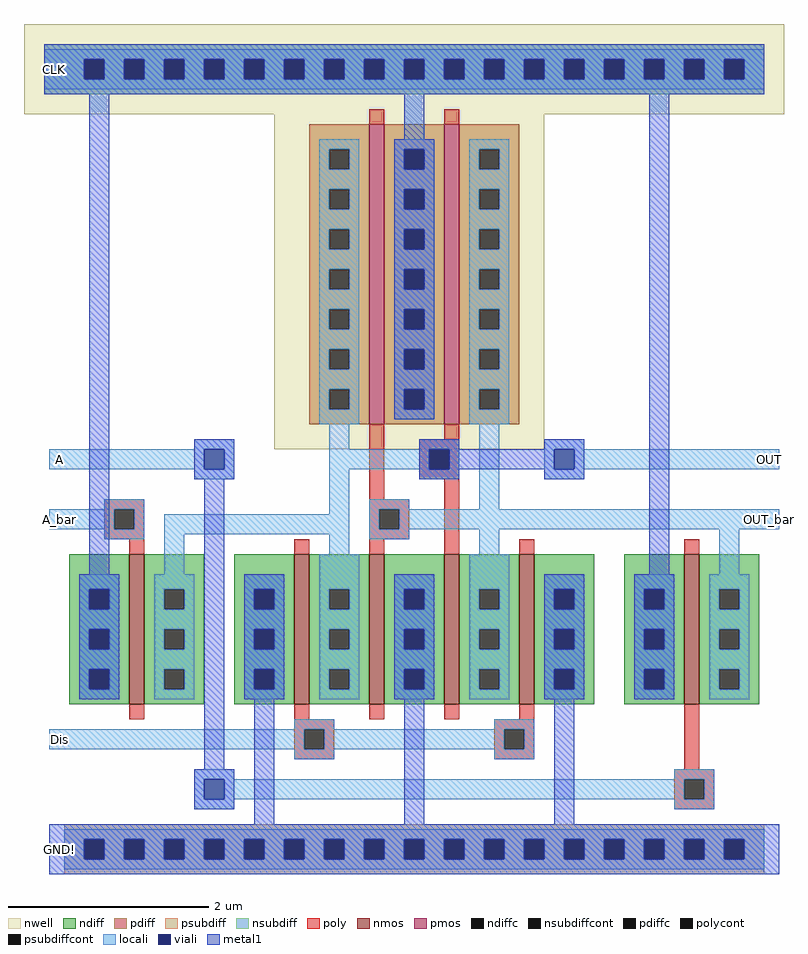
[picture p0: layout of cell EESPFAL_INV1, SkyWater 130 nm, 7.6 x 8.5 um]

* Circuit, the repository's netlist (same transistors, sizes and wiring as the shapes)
* NGSPICE file created from EESPFAL_INV1.ext - technology: sky130A

.subckt EESPFAL_INV1 A A_bar OUT OUT_bar Dis GND CLK
X0 OUT A_bar CLK GND sky130_fd_pr__nfet_01v8 ad=1.8e+12p pd=8.4e+06u as=5.4e+12p ps=2.38e+07u w=1.5e+06u l=150000u
X1 OUT_bar A CLK GND sky130_fd_pr__nfet_01v8 ad=1.8e+12p pd=8.4e+06u as=0p ps=0u w=1.5e+06u l=150000u
X2 CLK OUT_bar OUT CLK sky130_fd_pr__pfet_01v8 ad=1.8e+12p pd=7.2e+06u as=1.8e+12p ps=7.2e+06u w=3e+06u l=150000u
X3 GND Dis OUT_bar GND sky130_fd_pr__nfet_01v8 ad=2.7e+12p pd=1.26e+07u as=0p ps=0u w=1.5e+06u l=150000u
X4 OUT_bar OUT GND GND sky130_fd_pr__nfet_01v8 ad=0p pd=0u as=0p ps=0u w=1.5e+06u l=150000u
X5 OUT Dis GND GND sky130_fd_pr__nfet_01v8 ad=0p pd=0u as=0p ps=0u w=1.5e+06u l=150000u
X6 GND OUT_bar OUT GND sky130_fd_pr__nfet_01v8 ad=0p pd=0u as=0p ps=0u w=1.5e+06u l=150000u
X7 OUT_bar OUT CLK CLK sky130_fd_pr__pfet_01v8 ad=1.8e+12p pd=7.2e+06u as=0p ps=0u w=3e+06u l=150000u
.ends

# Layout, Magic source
magic
tech sky130A
<< nwell >>
rect -545 520 215 610
rect -295 185 -25 520
<< nmos >>
rect -440 -70 -425 80
rect -275 -70 -260 80
rect -200 -70 -185 80
rect -125 -70 -110 80
rect -50 -70 -35 80
rect 115 -70 130 80
<< pmos >>
rect -200 210 -185 510
rect -125 210 -110 510
<< ndiff >>
rect -500 45 -440 80
rect -500 25 -480 45
rect -460 25 -440 45
rect -500 5 -440 25
rect -500 -15 -480 5
rect -460 -15 -440 5
rect -500 -35 -440 -15
rect -500 -55 -480 -35
rect -460 -55 -440 -35
rect -500 -70 -440 -55
rect -425 45 -365 80
rect -425 25 -405 45
rect -385 25 -365 45
rect -425 5 -365 25
rect -425 -15 -405 5
rect -385 -15 -365 5
rect -425 -35 -365 -15
rect -425 -55 -405 -35
rect -385 -55 -365 -35
rect -425 -70 -365 -55
rect -335 45 -275 80
rect -335 25 -315 45
rect -295 25 -275 45
rect -335 5 -275 25
rect -335 -15 -315 5
rect -295 -15 -275 5
rect -335 -35 -275 -15
rect -335 -55 -315 -35
rect -295 -55 -275 -35
rect -335 -70 -275 -55
rect -260 45 -200 80
rect -260 25 -240 45
rect -220 25 -200 45
rect -260 5 -200 25
rect -260 -15 -240 5
rect -220 -15 -200 5
rect -260 -35 -200 -15
rect -260 -55 -240 -35
rect -220 -55 -200 -35
rect -260 -70 -200 -55
rect -185 45 -125 80
rect -185 25 -165 45
rect -145 25 -125 45
rect -185 5 -125 25
rect -185 -15 -165 5
rect -145 -15 -125 5
rect -185 -35 -125 -15
rect -185 -55 -165 -35
rect -145 -55 -125 -35
rect -185 -70 -125 -55
rect -110 45 -50 80
rect -110 25 -90 45
rect -70 25 -50 45
rect -110 5 -50 25
rect -110 -15 -90 5
rect -70 -15 -50 5
rect -110 -35 -50 -15
rect -110 -55 -90 -35
rect -70 -55 -50 -35
rect -110 -70 -50 -55
rect -35 45 25 80
rect -35 25 -15 45
rect 5 25 25 45
rect -35 5 25 25
rect -35 -15 -15 5
rect 5 -15 25 5
rect -35 -35 25 -15
rect -35 -55 -15 -35
rect 5 -55 25 -35
rect -35 -70 25 -55
rect 55 45 115 80
rect 55 25 75 45
rect 95 25 115 45
rect 55 5 115 25
rect 55 -15 75 5
rect 95 -15 115 5
rect 55 -35 115 -15
rect 55 -55 75 -35
rect 95 -55 115 -35
rect 55 -70 115 -55
rect 130 45 190 80
rect 130 25 150 45
rect 170 25 190 45
rect 130 5 190 25
rect 130 -15 150 5
rect 170 -15 190 5
rect 130 -35 190 -15
rect 130 -55 150 -35
rect 170 -55 190 -35
rect 130 -70 190 -55
<< pdiff >>
rect -260 485 -200 510
rect -260 465 -240 485
rect -220 465 -200 485
rect -260 445 -200 465
rect -260 425 -240 445
rect -220 425 -200 445
rect -260 405 -200 425
rect -260 385 -240 405
rect -220 385 -200 405
rect -260 365 -200 385
rect -260 345 -240 365
rect -220 345 -200 365
rect -260 325 -200 345
rect -260 305 -240 325
rect -220 305 -200 325
rect -260 285 -200 305
rect -260 265 -240 285
rect -220 265 -200 285
rect -260 245 -200 265
rect -260 225 -240 245
rect -220 225 -200 245
rect -260 210 -200 225
rect -185 485 -125 510
rect -185 465 -165 485
rect -145 465 -125 485
rect -185 445 -125 465
rect -185 425 -165 445
rect -145 425 -125 445
rect -185 405 -125 425
rect -185 385 -165 405
rect -145 385 -125 405
rect -185 365 -125 385
rect -185 345 -165 365
rect -145 345 -125 365
rect -185 325 -125 345
rect -185 305 -165 325
rect -145 305 -125 325
rect -185 285 -125 305
rect -185 265 -165 285
rect -145 265 -125 285
rect -185 245 -125 265
rect -185 225 -165 245
rect -145 225 -125 245
rect -185 210 -125 225
rect -110 485 -50 510
rect -110 465 -90 485
rect -70 465 -50 485
rect -110 445 -50 465
rect -110 425 -90 445
rect -70 425 -50 445
rect -110 405 -50 425
rect -110 385 -90 405
rect -70 385 -50 405
rect -110 365 -50 385
rect -110 345 -90 365
rect -70 345 -50 365
rect -110 325 -50 345
rect -110 305 -90 325
rect -70 305 -50 325
rect -110 285 -50 305
rect -110 265 -90 285
rect -70 265 -50 285
rect -110 245 -50 265
rect -110 225 -90 245
rect -70 225 -50 245
rect -110 210 -50 225
<< ndiffc >>
rect -480 25 -460 45
rect -480 -15 -460 5
rect -480 -55 -460 -35
rect -405 25 -385 45
rect -405 -15 -385 5
rect -405 -55 -385 -35
rect -315 25 -295 45
rect -315 -15 -295 5
rect -315 -55 -295 -35
rect -240 25 -220 45
rect -240 -15 -220 5
rect -240 -55 -220 -35
rect -165 25 -145 45
rect -165 -15 -145 5
rect -165 -55 -145 -35
rect -90 25 -70 45
rect -90 -15 -70 5
rect -90 -55 -70 -35
rect -15 25 5 45
rect -15 -15 5 5
rect -15 -55 5 -35
rect 75 25 95 45
rect 75 -15 95 5
rect 75 -55 95 -35
rect 150 25 170 45
rect 150 -15 170 5
rect 150 -55 170 -35
<< pdiffc >>
rect -240 465 -220 485
rect -240 425 -220 445
rect -240 385 -220 405
rect -240 345 -220 365
rect -240 305 -220 325
rect -240 265 -220 285
rect -240 225 -220 245
rect -165 465 -145 485
rect -165 425 -145 445
rect -165 385 -145 405
rect -165 345 -145 365
rect -165 305 -145 325
rect -165 265 -145 285
rect -165 225 -145 245
rect -90 465 -70 485
rect -90 425 -70 445
rect -90 385 -70 405
rect -90 345 -70 365
rect -90 305 -70 325
rect -90 265 -70 285
rect -90 225 -70 245
<< psubdiff >>
rect -505 -205 195 -190
rect -505 -225 -485 -205
rect -465 -225 -445 -205
rect -425 -225 -405 -205
rect -385 -225 -365 -205
rect -345 -225 -325 -205
rect -305 -225 -285 -205
rect -265 -225 -245 -205
rect -225 -225 -205 -205
rect -185 -225 -165 -205
rect -145 -225 -125 -205
rect -105 -225 -85 -205
rect -65 -225 -45 -205
rect -25 -225 -5 -205
rect 15 -225 35 -205
rect 55 -225 75 -205
rect 95 -225 115 -205
rect 135 -225 155 -205
rect 175 -225 195 -205
rect -505 -240 195 -225
<< nsubdiff >>
rect -525 575 195 590
rect -525 555 -485 575
rect -465 555 -445 575
rect -425 555 -405 575
rect -385 555 -365 575
rect -345 555 -325 575
rect -305 555 -285 575
rect -265 555 -245 575
rect -225 555 -205 575
rect -185 555 -165 575
rect -145 555 -125 575
rect -105 555 -85 575
rect -65 555 -45 575
rect -25 555 -5 575
rect 15 555 35 575
rect 55 555 75 575
rect 95 555 115 575
rect 135 555 155 575
rect 175 555 195 575
rect -525 540 195 555
<< psubdiffcont >>
rect -485 -225 -465 -205
rect -445 -225 -425 -205
rect -405 -225 -385 -205
rect -365 -225 -345 -205
rect -325 -225 -305 -205
rect -285 -225 -265 -205
rect -245 -225 -225 -205
rect -205 -225 -185 -205
rect -165 -225 -145 -205
rect -125 -225 -105 -205
rect -85 -225 -65 -205
rect -45 -225 -25 -205
rect -5 -225 15 -205
rect 35 -225 55 -205
rect 75 -225 95 -205
rect 115 -225 135 -205
rect 155 -225 175 -205
<< nsubdiffcont >>
rect -485 555 -465 575
rect -445 555 -425 575
rect -405 555 -385 575
rect -365 555 -345 575
rect -325 555 -305 575
rect -285 555 -265 575
rect -245 555 -225 575
rect -205 555 -185 575
rect -165 555 -145 575
rect -125 555 -105 575
rect -85 555 -65 575
rect -45 555 -25 575
rect -5 555 15 575
rect 35 555 55 575
rect 75 555 95 575
rect 115 555 135 575
rect 155 555 175 575
<< poly >>
rect -200 510 -185 525
rect -125 510 -110 525
rect -200 135 -185 210
rect -125 195 -110 210
rect -150 185 -110 195
rect -150 165 -140 185
rect -120 165 -110 185
rect -150 155 -110 165
rect -465 125 -425 135
rect -465 105 -455 125
rect -435 105 -425 125
rect -465 95 -425 105
rect -200 125 -160 135
rect -200 105 -190 125
rect -170 105 -160 125
rect -200 95 -160 105
rect -440 80 -425 95
rect -275 80 -260 95
rect -200 80 -185 95
rect -125 80 -110 155
rect -50 80 -35 95
rect 115 80 130 95
rect -440 -85 -425 -70
rect -275 -85 -260 -70
rect -200 -85 -185 -70
rect -125 -85 -110 -70
rect -50 -85 -35 -70
rect -275 -95 -235 -85
rect -275 -115 -265 -95
rect -245 -115 -235 -95
rect -275 -125 -235 -115
rect -75 -95 -35 -85
rect -75 -115 -65 -95
rect -45 -115 -35 -95
rect -75 -125 -35 -115
rect 115 -135 130 -70
rect 105 -145 145 -135
rect 105 -165 115 -145
rect 135 -165 145 -145
rect 105 -175 145 -165
<< polycont >>
rect -140 165 -120 185
rect -455 105 -435 125
rect -190 105 -170 125
rect -265 -115 -245 -95
rect -65 -115 -45 -95
rect 115 -165 135 -145
<< locali >>
rect -525 575 195 585
rect -525 555 -485 575
rect -465 555 -445 575
rect -425 555 -405 575
rect -385 555 -365 575
rect -345 555 -325 575
rect -305 555 -285 575
rect -265 555 -245 575
rect -225 555 -205 575
rect -185 555 -165 575
rect -145 555 -125 575
rect -105 555 -85 575
rect -65 555 -45 575
rect -25 555 -5 575
rect 15 555 35 575
rect 55 555 75 575
rect 95 555 115 575
rect 135 555 155 575
rect 175 555 195 575
rect -525 545 195 555
rect -250 485 -210 495
rect -250 465 -240 485
rect -220 465 -210 485
rect -250 445 -210 465
rect -250 425 -240 445
rect -220 425 -210 445
rect -250 405 -210 425
rect -250 385 -240 405
rect -220 385 -210 405
rect -250 365 -210 385
rect -250 345 -240 365
rect -220 345 -210 365
rect -250 325 -210 345
rect -250 305 -240 325
rect -220 305 -210 325
rect -250 285 -210 305
rect -250 265 -240 285
rect -220 265 -210 285
rect -250 245 -210 265
rect -250 225 -240 245
rect -220 225 -210 245
rect -250 210 -210 225
rect -175 485 -135 495
rect -175 465 -165 485
rect -145 465 -135 485
rect -175 445 -135 465
rect -175 425 -165 445
rect -145 425 -135 445
rect -175 405 -135 425
rect -175 385 -165 405
rect -145 385 -135 405
rect -175 365 -135 385
rect -175 345 -165 365
rect -145 345 -135 365
rect -175 325 -135 345
rect -175 305 -165 325
rect -145 305 -135 325
rect -175 285 -135 305
rect -175 265 -165 285
rect -145 265 -135 285
rect -175 245 -135 265
rect -175 225 -165 245
rect -145 225 -135 245
rect -175 215 -135 225
rect -100 485 -60 495
rect -100 465 -90 485
rect -70 465 -60 485
rect -100 445 -60 465
rect -100 425 -90 445
rect -70 425 -60 445
rect -100 405 -60 425
rect -100 385 -90 405
rect -70 385 -60 405
rect -100 365 -60 385
rect -100 345 -90 365
rect -70 345 -60 365
rect -100 325 -60 345
rect -100 305 -90 325
rect -70 305 -60 325
rect -100 285 -60 305
rect -100 265 -90 285
rect -70 265 -60 285
rect -100 245 -60 265
rect -100 225 -90 245
rect -70 225 -60 245
rect -100 210 -60 225
rect -375 185 -335 195
rect -520 165 -365 185
rect -345 165 -335 185
rect -375 155 -335 165
rect -240 185 -220 210
rect -150 185 -110 195
rect -240 165 -140 185
rect -120 165 -110 185
rect -465 125 -425 135
rect -520 105 -455 125
rect -435 105 -425 125
rect -240 120 -220 165
rect -150 155 -110 165
rect -465 95 -425 105
rect -405 100 -220 120
rect -405 60 -385 100
rect -240 80 -220 100
rect -200 125 -160 135
rect -90 125 -70 210
rect -25 185 15 195
rect -25 165 -15 185
rect 5 165 210 185
rect -25 155 15 165
rect -200 105 -190 125
rect -170 105 210 125
rect -200 95 -160 105
rect -90 80 -70 105
rect -490 45 -450 60
rect -490 25 -480 45
rect -460 25 -450 45
rect -490 5 -450 25
rect -490 -15 -480 5
rect -460 -15 -450 5
rect -490 -35 -450 -15
rect -490 -55 -480 -35
rect -460 -55 -450 -35
rect -490 -65 -450 -55
rect -415 45 -375 60
rect -415 25 -405 45
rect -385 25 -375 45
rect -415 5 -375 25
rect -415 -15 -405 5
rect -385 -15 -375 5
rect -415 -35 -375 -15
rect -415 -55 -405 -35
rect -385 -55 -375 -35
rect -415 -65 -375 -55
rect -325 45 -285 60
rect -325 25 -315 45
rect -295 25 -285 45
rect -325 5 -285 25
rect -325 -15 -315 5
rect -295 -15 -285 5
rect -325 -35 -285 -15
rect -325 -55 -315 -35
rect -295 -55 -285 -35
rect -325 -65 -285 -55
rect -250 45 -210 80
rect -250 25 -240 45
rect -220 25 -210 45
rect -250 5 -210 25
rect -250 -15 -240 5
rect -220 -15 -210 5
rect -250 -35 -210 -15
rect -250 -55 -240 -35
rect -220 -55 -210 -35
rect -250 -65 -210 -55
rect -175 45 -135 60
rect -175 25 -165 45
rect -145 25 -135 45
rect -175 5 -135 25
rect -175 -15 -165 5
rect -145 -15 -135 5
rect -175 -35 -135 -15
rect -175 -55 -165 -35
rect -145 -55 -135 -35
rect -175 -65 -135 -55
rect -100 45 -60 80
rect 150 60 170 105
rect -100 25 -90 45
rect -70 25 -60 45
rect -100 5 -60 25
rect -100 -15 -90 5
rect -70 -15 -60 5
rect -100 -35 -60 -15
rect -100 -55 -90 -35
rect -70 -55 -60 -35
rect -100 -65 -60 -55
rect -25 45 15 60
rect -25 25 -15 45
rect 5 25 15 45
rect -25 5 15 25
rect -25 -15 -15 5
rect 5 -15 15 5
rect -25 -35 15 -15
rect -25 -55 -15 -35
rect 5 -55 15 -35
rect -25 -65 15 -55
rect 65 45 105 60
rect 65 25 75 45
rect 95 25 105 45
rect 65 5 105 25
rect 65 -15 75 5
rect 95 -15 105 5
rect 65 -35 105 -15
rect 65 -55 75 -35
rect 95 -55 105 -35
rect 65 -65 105 -55
rect 140 45 180 60
rect 140 25 150 45
rect 170 25 180 45
rect 140 5 180 25
rect 140 -15 150 5
rect 170 -15 180 5
rect 140 -35 180 -15
rect 140 -55 150 -35
rect 170 -55 180 -35
rect 140 -65 180 -55
rect -275 -95 -235 -85
rect -75 -95 -35 -85
rect -520 -115 -265 -95
rect -245 -115 -65 -95
rect -45 -115 -35 -95
rect -275 -125 -235 -115
rect -75 -125 -35 -115
rect -375 -145 -335 -135
rect 105 -145 145 -135
rect -375 -165 -365 -145
rect -345 -165 115 -145
rect 135 -165 145 -145
rect -375 -175 -335 -165
rect 105 -175 145 -165
rect -505 -205 195 -195
rect -505 -225 -485 -205
rect -465 -225 -445 -205
rect -425 -225 -405 -205
rect -385 -225 -365 -205
rect -345 -225 -325 -205
rect -305 -225 -285 -205
rect -265 -225 -245 -205
rect -225 -225 -205 -205
rect -185 -225 -165 -205
rect -145 -225 -125 -205
rect -105 -225 -85 -205
rect -65 -225 -45 -205
rect -25 -225 -5 -205
rect 15 -225 35 -205
rect 55 -225 75 -205
rect 95 -225 115 -205
rect 135 -225 155 -205
rect 175 -225 195 -205
rect -505 -235 195 -225
<< viali >>
rect -485 555 -465 575
rect -445 555 -425 575
rect -405 555 -385 575
rect -365 555 -345 575
rect -325 555 -305 575
rect -285 555 -265 575
rect -245 555 -225 575
rect -205 555 -185 575
rect -165 555 -145 575
rect -125 555 -105 575
rect -85 555 -65 575
rect -45 555 -25 575
rect -5 555 15 575
rect 35 555 55 575
rect 75 555 95 575
rect 115 555 135 575
rect 155 555 175 575
rect -165 465 -145 485
rect -165 425 -145 445
rect -165 385 -145 405
rect -165 345 -145 365
rect -165 305 -145 325
rect -165 265 -145 285
rect -165 225 -145 245
rect -365 165 -345 185
rect -140 165 -120 185
rect -15 165 5 185
rect -480 25 -460 45
rect -480 -15 -460 5
rect -480 -55 -460 -35
rect -315 25 -295 45
rect -315 -15 -295 5
rect -315 -55 -295 -35
rect -165 25 -145 45
rect -165 -15 -145 5
rect -165 -55 -145 -35
rect -15 25 5 45
rect -15 -15 5 5
rect -15 -55 5 -35
rect 75 25 95 45
rect 75 -15 95 5
rect 75 -55 95 -35
rect -365 -165 -345 -145
rect -485 -225 -465 -205
rect -445 -225 -425 -205
rect -405 -225 -385 -205
rect -365 -225 -345 -205
rect -325 -225 -305 -205
rect -285 -225 -265 -205
rect -245 -225 -225 -205
rect -205 -225 -185 -205
rect -165 -225 -145 -205
rect -125 -225 -105 -205
rect -85 -225 -65 -205
rect -45 -225 -25 -205
rect -5 -225 15 -205
rect 35 -225 55 -205
rect 75 -225 95 -205
rect 115 -225 135 -205
rect 155 -225 175 -205
<< metal1 >>
rect -525 575 195 590
rect -525 555 -485 575
rect -465 555 -445 575
rect -425 555 -405 575
rect -385 555 -365 575
rect -345 555 -325 575
rect -305 555 -285 575
rect -265 555 -245 575
rect -225 555 -205 575
rect -185 555 -165 575
rect -145 555 -125 575
rect -105 555 -85 575
rect -65 555 -45 575
rect -25 555 -5 575
rect 15 555 35 575
rect 55 555 75 575
rect 95 555 115 575
rect 135 555 155 575
rect 175 555 195 575
rect -525 540 195 555
rect -480 60 -460 540
rect -165 495 -145 540
rect -175 485 -135 495
rect -175 465 -165 485
rect -145 465 -135 485
rect -175 445 -135 465
rect -175 425 -165 445
rect -145 425 -135 445
rect -175 405 -135 425
rect -175 385 -165 405
rect -145 385 -135 405
rect -175 365 -135 385
rect -175 345 -165 365
rect -145 345 -135 365
rect -175 325 -135 345
rect -175 305 -165 325
rect -145 305 -135 325
rect -175 285 -135 305
rect -175 265 -165 285
rect -145 265 -135 285
rect -175 245 -135 265
rect -175 225 -165 245
rect -145 225 -135 245
rect -175 215 -135 225
rect -375 185 -335 195
rect -375 165 -365 185
rect -345 165 -335 185
rect -375 155 -335 165
rect -150 185 -110 195
rect -25 185 15 195
rect -150 165 -140 185
rect -120 165 -15 185
rect 5 165 15 185
rect -150 155 -110 165
rect -25 155 15 165
rect -490 45 -450 60
rect -490 25 -480 45
rect -460 25 -450 45
rect -490 5 -450 25
rect -490 -15 -480 5
rect -460 -15 -450 5
rect -490 -35 -450 -15
rect -490 -55 -480 -35
rect -460 -55 -450 -35
rect -490 -65 -450 -55
rect -365 -135 -345 155
rect 80 60 100 540
rect -325 45 -285 60
rect -325 25 -315 45
rect -295 25 -285 45
rect -325 5 -285 25
rect -325 -15 -315 5
rect -295 -15 -285 5
rect -325 -35 -285 -15
rect -325 -55 -315 -35
rect -295 -55 -285 -35
rect -325 -65 -285 -55
rect -175 45 -135 60
rect -175 25 -165 45
rect -145 25 -135 45
rect -175 5 -135 25
rect -175 -15 -165 5
rect -145 -15 -135 5
rect -175 -35 -135 -15
rect -175 -55 -165 -35
rect -145 -55 -135 -35
rect -175 -65 -135 -55
rect -25 45 15 60
rect -25 25 -15 45
rect 5 25 15 45
rect -25 5 15 25
rect -25 -15 -15 5
rect 5 -15 15 5
rect -25 -35 15 -15
rect -25 -55 -15 -35
rect 5 -55 15 -35
rect -25 -65 15 -55
rect 65 45 105 60
rect 65 25 75 45
rect 95 25 105 45
rect 65 5 105 25
rect 65 -15 75 5
rect 95 -15 105 5
rect 65 -35 105 -15
rect 65 -55 75 -35
rect 95 -55 105 -35
rect 65 -65 105 -55
rect -375 -145 -335 -135
rect -375 -165 -365 -145
rect -345 -165 -335 -145
rect -375 -175 -335 -165
rect -315 -190 -295 -65
rect -165 -190 -145 -65
rect -15 -190 5 -65
rect -520 -205 210 -190
rect -520 -225 -485 -205
rect -465 -225 -445 -205
rect -425 -225 -405 -205
rect -385 -225 -365 -205
rect -345 -225 -325 -205
rect -305 -225 -285 -205
rect -265 -225 -245 -205
rect -225 -225 -205 -205
rect -185 -225 -165 -205
rect -145 -225 -125 -205
rect -105 -225 -85 -205
rect -65 -225 -45 -205
rect -25 -225 -5 -205
rect 15 -225 35 -205
rect 55 -225 75 -205
rect 95 -225 115 -205
rect 135 -225 155 -205
rect 175 -225 210 -205
rect -520 -240 210 -225
<< labels >>
rlabel locali 195 110 205 120 3 OUT_bar
port 3 e
rlabel locali -515 -110 -505 -100 7 Dis
port 5 w
rlabel locali 195 170 205 180 3 OUT
port 2 e
rlabel metal1 -515 -220 -505 -210 1 GND!
port 6 n
rlabel metal1 -520 560 -510 570 7 CLK
port 4 w
rlabel locali -515 170 -505 180 7 A
port 0 w
rlabel locali -515 110 -505 120 7 A_bar
port 1 w
<< end >>
